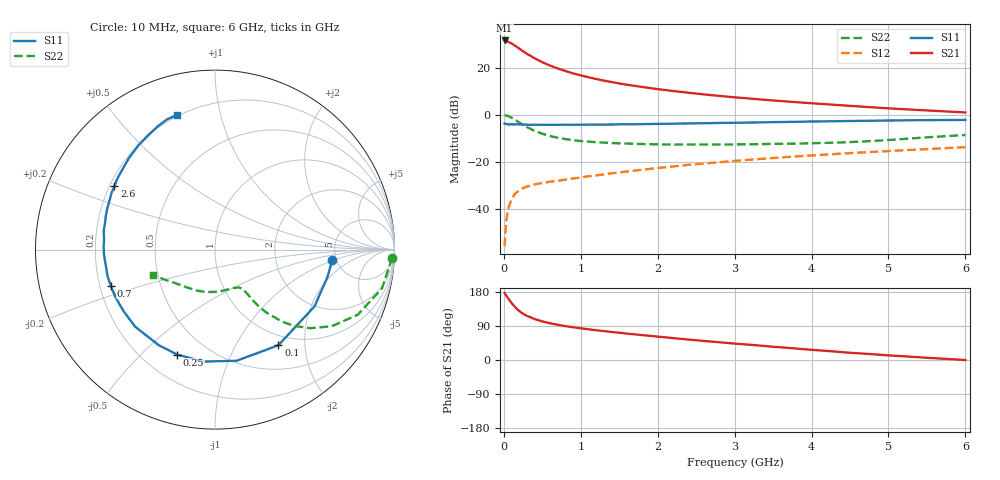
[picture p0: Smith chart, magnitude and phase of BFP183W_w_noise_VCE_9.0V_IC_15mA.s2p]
! Infineon Technologies  Discrete & RF Semiconductors
! BFP183W
! VCE =  9.0 V,  IC =  15 mA
! Common Emitter S-Parameters:  Jan 2017
# GHz  S  MA  R  50
!  f  S11  S21  S12  S22
! GHz  MAG  ANG  MAG  ANG  MAG  ANG  MAG  ANG
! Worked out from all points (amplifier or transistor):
!   77 points, 10 MHz to 6 GHz, reference 50 ohm
!   highest |S21| = 31.7 dB at 10 MHz (marker M1)
!   |S21| within 3 dB of that: start of sweep to 180.4 MHz
!   unconditionally stable (mu >= 1): 1.433 GHz to 3.711 GHz
!   at 130 MHz: K = 0.19, MSG = 32.1 dB, |S12| = -34.4 dB
!   at 2.2 GHz: K = 1.06, MAG = 14.5 dB, |S12| = -22.0 dB
!   at 6 GHz: K = 0.85, MSG = 7.4 dB, |S12| = -13.8 dB
!   lowest NFmin = 1.05 dB at 450 MHz
!   S11 on the Smith chart (normalised r, x): 10 MHz: 4.60, -0.94; 100 MHz: 0.84, -1.52; 250 MHz: 0.34, -0.65; 700 MHz: 0.25, -0.16; 2.6 GHz: 0.22, +0.28; 6 GHz: 0.19, +0.74
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0.01  0.6555 -5.1  38.37 177.0  0.0016 86.0  0.987 -2.6
0.02  0.6456 -13.3  38.05 173.1  0.0032 86.2  0.9769 -5.3
0.05  0.6384 -29.7  36.5 164.2  0.0088 75.9  0.9549 -13.1
0.1  0.6392 -56.5  33.26 150.2  0.0158 66.6  0.8743 -24.5
0.15  0.6309 -78.9  29.47 138.7  0.0212 57.9  0.778 -33.3
0.2  0.6274 -96.0  25.78 129.4  0.0247 52.9  0.6884 -39.5
0.25  0.6217 -109.8  22.62 122.1  0.0277 47.8  0.6117 -44.0
0.3  0.618 -120.4  19.94 116.4  0.0297 45.1  0.5476 -47.1
0.4  0.6183 -135.9  16 107.9  0.033 44.2  0.4561 -50.7
0.5  0.6142 -146.4  13.19 101.8  0.0354 42.7  0.396 -52.4
0.6  0.6144 -154.5  11.23 97.0  0.0378 42.4  0.3542 -53.3
0.7  0.6145 -160.9  9.713 93.0  0.0394 43.9  0.3251 -53.6
0.9  0.6145 -170.7  7.643 86.4  0.0443 46.6  0.2892 -54.3
1.1  0.619 -177.9  6.315 81.1  0.0493 49.0  0.2696 -55.2
1.3  0.6201 175.8  5.359 76.2  0.0539 50.6  0.2565 -56.6
1.5  0.6286 170.8  4.666 71.9  0.0594 52.0  0.2474 -58.7
2.1  0.6449 157.1  3.374 59.8  0.0767 54.4  0.2345 -68.5
2.6  0.6626 147.8  2.726 50.3  0.0918 54.4  0.2329 -79.7
3.1  0.6818 139.3  2.291 41.7  0.1076 53.4  0.2356 -91.5
4.1  0.7245 124.7  1.721 25.4  0.14 49.7  0.251 -116.5
5.1  0.761 113.7  1.347 11.0  0.173 44.7  0.2985 -142.5
6  0.7798 105.6  1.125 -0.1  0.205 39.2  0.3726 -157.6
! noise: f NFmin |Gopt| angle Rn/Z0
0.45  1.05  0.15  158  0.1
0.9  1.09  0.21  163  0.09
1.9  1.56  0.39  -168  0.08
2.4  1.8  0.44  -161  0.11
